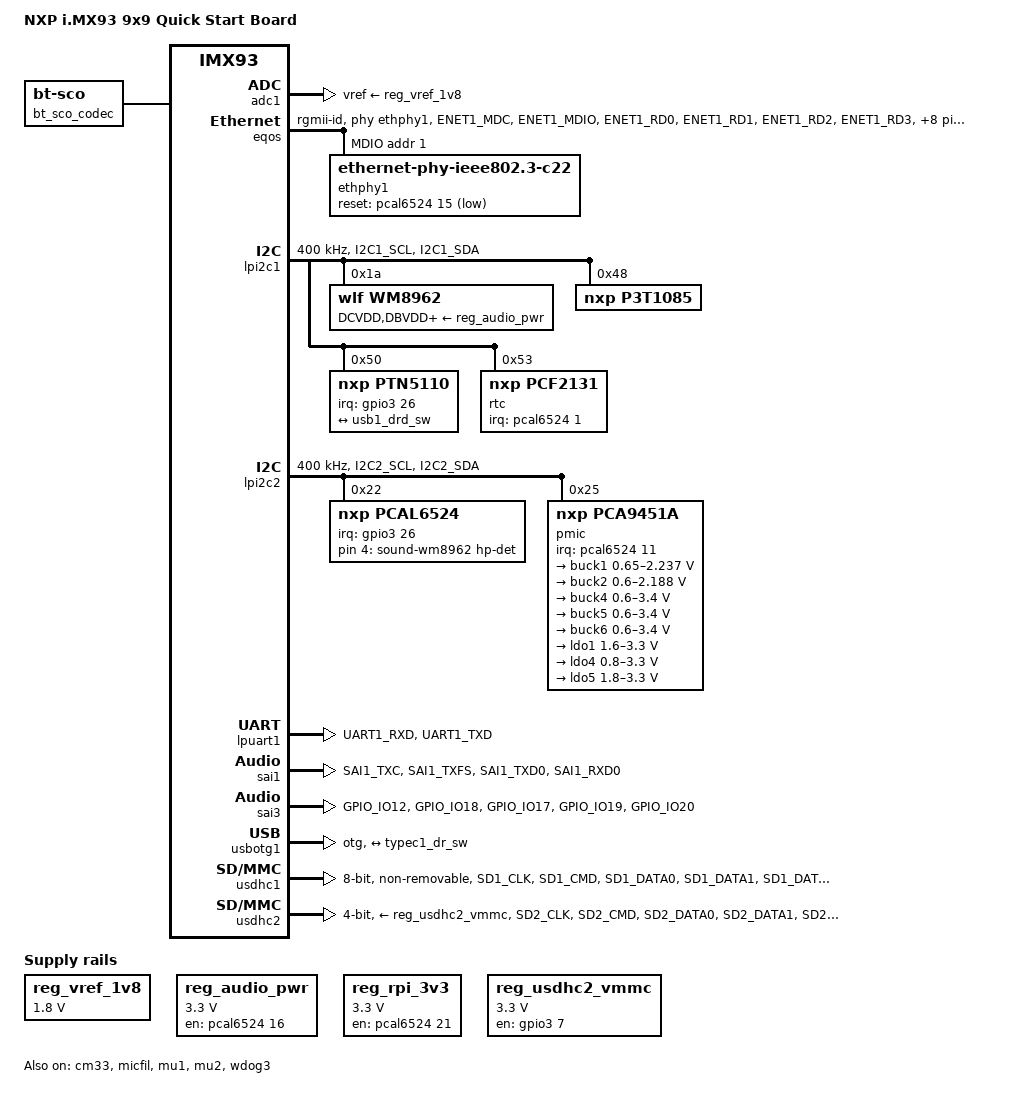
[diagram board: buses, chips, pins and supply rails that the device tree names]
// SPDX-License-Identifier: (GPL-2.0-only OR MIT)
/*
 * Copyright 2024 NXP
 */

/dts-v1/;

#include <dt-bindings/usb/pd.h>
#include "imx93.dtsi"

/ {
	model = "NXP i.MX93 9x9 Quick Start Board";
	compatible = "fsl,imx93-9x9-qsb", "fsl,imx93";

	bt_sco_codec: bt-sco-codec {
		#sound-dai-cells = <1>;
		compatible = "linux,bt-sco";
	};

	chosen {
		stdout-path = &lpuart1;
	};

	reserved-memory {
		#address-cells = <2>;
		#size-cells = <2>;
		ranges;

		linux,cma {
			compatible = "shared-dma-pool";
			reusable;
			size = <0 0x10000000>;
			linux,cma-default;
		};

		vdev0vring0: vdev0vring0@a4000000 {
			reg = <0 0xa4000000 0 0x8000>;
			no-map;
		};

		vdev0vring1: vdev0vring1@a4008000 {
			reg = <0 0xa4008000 0 0x8000>;
			no-map;
		};

		vdev1vring0: vdev1vring0@a4010000 {
			reg = <0 0xa4010000 0 0x8000>;
			no-map;
		};

		vdev1vring1: vdev1vring1@a4018000 {
			reg = <0 0xa4018000 0 0x8000>;
			no-map;
		};

		rsc_table: rsc-table@2021e000 {
			reg = <0 0x2021e000 0 0x1000>;
			no-map;
		};

		vdevbuffer: vdevbuffer@a4020000 {
			compatible = "shared-dma-pool";
			reg = <0 0xa4020000 0 0x100000>;
			no-map;
		};

	};

	reg_vref_1v8: regulator-adc-vref {
		compatible = "regulator-fixed";
		regulator-name = "VREF_1V8";
		regulator-min-microvolt = <1800000>;
		regulator-max-microvolt = <1800000>;
	};

	reg_audio_pwr: regulator-audio-pwr {
		compatible = "regulator-fixed";
		regulator-name = "audio-pwr";
		regulator-min-microvolt = <3300000>;
		regulator-max-microvolt = <3300000>;
		gpio = <&pcal6524 16 GPIO_ACTIVE_HIGH>;
		enable-active-high;
	};

	reg_rpi_3v3: regulator-rpi {
		compatible = "regulator-fixed";
		regulator-name = "VDD_RPI_3V3";
		regulator-min-microvolt = <3300000>;
		regulator-max-microvolt = <3300000>;
		gpio = <&pcal6524 21 GPIO_ACTIVE_HIGH>;
		enable-active-high;
	};

	reg_usdhc2_vmmc: regulator-usdhc2 {
		compatible = "regulator-fixed";
		pinctrl-names = "default";
		pinctrl-0 = <&pinctrl_reg_usdhc2_vmmc>;
		regulator-name = "VSD_3V3";
		regulator-min-microvolt = <3300000>;
		regulator-max-microvolt = <3300000>;
		gpio = <&gpio3 7 GPIO_ACTIVE_HIGH>;
		enable-active-high;
		off-on-delay-us = <12000>;
	};

	sound-bt-sco {
		compatible = "simple-audio-card";
		simple-audio-card,name = "bt-sco-audio";
		simple-audio-card,format = "dsp_a";
		simple-audio-card,bitclock-inversion;
		simple-audio-card,frame-master = <&btcpu>;
		simple-audio-card,bitclock-master = <&btcpu>;

		btcpu: simple-audio-card,cpu {
			sound-dai = <&sai1>;
			dai-tdm-slot-num = <2>;
			dai-tdm-slot-width = <16>;
		};

		simple-audio-card,codec {
			sound-dai = <&bt_sco_codec 1>;
		};
	};

	sound-micfil {
		compatible = "fsl,imx-audio-card";
		model = "micfil-audio";

		pri-dai-link {
			link-name = "micfil hifi";
			format = "i2s";

			cpu {
				sound-dai = <&micfil>;
			};
		};
	};

	sound-wm8962 {
		compatible = "fsl,imx-audio-wm8962";
		model = "wm8962-audio";
		audio-cpu = <&sai3>;
		audio-codec = <&wm8962>;
		hp-det-gpio = <&pcal6524 4 GPIO_ACTIVE_HIGH>;
		audio-routing =
			"Headphone Jack", "HPOUTL",
			"Headphone Jack", "HPOUTR",
			"Ext Spk", "SPKOUTL",
			"Ext Spk", "SPKOUTR",
			"AMIC", "MICBIAS",
			"IN3R", "AMIC",
			"IN1R", "AMIC";
	};
};

&adc1 {
	vref-supply = <&reg_vref_1v8>;
	status = "okay";
};

&cm33 {
	mbox-names = "tx", "rx", "rxdb";
	mboxes = <&mu1 0 1>,
		 <&mu1 1 1>,
		 <&mu1 3 1>;
	memory-region = <&vdevbuffer>, <&vdev0vring0>, <&vdev0vring1>,
			<&vdev1vring0>, <&vdev1vring1>, <&rsc_table>;
	status = "okay";
};

&eqos {
	pinctrl-names = "default";
	pinctrl-0 = <&pinctrl_eqos>;
	phy-mode = "rgmii-id";
	phy-handle = <&ethphy1>;
	status = "okay";

	mdio {
		compatible = "snps,dwmac-mdio";
		#address-cells = <1>;
		#size-cells = <0>;
		clock-frequency = <5000000>;

		ethphy1: ethernet-phy@1 {
			compatible = "ethernet-phy-ieee802.3-c22";
			reg = <1>;
			eee-broken-1000t;
			reset-gpios = <&pcal6524 15 GPIO_ACTIVE_LOW>;
			reset-assert-us = <10000>;
			reset-deassert-us = <80000>;
			realtek,clkout-disable;
		};
	};
};

&lpi2c1 {
	clock-frequency = <400000>;
	pinctrl-names = "default";
	pinctrl-0 = <&pinctrl_lpi2c1>;
	status = "okay";

	wm8962: audio-codec@1a {
		compatible = "wlf,wm8962";
		reg = <0x1a>;
		clocks = <&clk IMX93_CLK_SAI3_GATE>;
		DCVDD-supply = <&reg_audio_pwr>;
		DBVDD-supply = <&reg_audio_pwr>;
		AVDD-supply = <&reg_audio_pwr>;
		CPVDD-supply = <&reg_audio_pwr>;
		MICVDD-supply = <&reg_audio_pwr>;
		PLLVDD-supply = <&reg_audio_pwr>;
		SPKVDD1-supply = <&reg_audio_pwr>;
		SPKVDD2-supply = <&reg_audio_pwr>;
		gpio-cfg = <
			0x0000 /* 0:Default */
			0x0000 /* 1:Default */
			0x0000 /* 2:FN_DMICCLK */
			0x0000 /* 3:Default */
			0x0000 /* 4:FN_DMICCDAT */
			0x0000 /* 5:Default */
		>;
	};

	p3t1085: temperature-sensor@48 {
		compatible = "nxp,p3t1085";
		reg = <0x48>;
	};

	ptn5110: tcpc@50 {
		compatible = "nxp,ptn5110", "tcpci";
		reg = <0x50>;
		interrupt-parent = <&gpio3>;
		interrupts = <26 IRQ_TYPE_LEVEL_LOW>;

		typec1_con: connector {
			compatible = "usb-c-connector";
			label = "USB-C";
			power-role = "dual";
			data-role = "dual";
			try-power-role = "sink";
			source-pdos = <PDO_FIXED(5000, 3000, PDO_FIXED_USB_COMM)>;
			sink-pdos = <PDO_FIXED(5000, 3000, PDO_FIXED_USB_COMM)
				     PDO_VAR(5000, 20000, 3000)>;
			op-sink-microwatt = <15000000>;
			self-powered;

			ports {
				#address-cells = <1>;
				#size-cells = <0>;

				port@0 {
					reg = <0>;

					typec1_dr_sw: endpoint {
						remote-endpoint = <&usb1_drd_sw>;
					};
				};
			};
		};
	};

	rtc@53 {
		compatible = "nxp,pcf2131";
		reg = <0x53>;
		interrupt-parent = <&pcal6524>;
		interrupts = <1 IRQ_TYPE_EDGE_FALLING>;
	};
};

&lpi2c2 {
	clock-frequency = <400000>;
	pinctrl-names = "default";
	pinctrl-0 = <&pinctrl_lpi2c2>;
	status = "okay";

	pcal6524: gpio@22 {
		compatible = "nxp,pcal6524";
		reg = <0x22>;
		gpio-controller;
		#gpio-cells = <2>;
		interrupt-controller;
		#interrupt-cells = <2>;
		interrupt-parent = <&gpio3>;
		interrupts = <26 IRQ_TYPE_LEVEL_LOW>;
		pinctrl-names = "default";
		pinctrl-0 = <&pinctrl_pcal6524>;

		exp-sel-hog {
			gpio-hog;
			gpios = <22 GPIO_ACTIVE_HIGH>;
			output-low;
		};

		mic-can-sel-hog {
			gpio-hog;
			gpios = <17 GPIO_ACTIVE_HIGH>;
			output-low;
		};
	};

	pmic@25 {
		compatible = "nxp,pca9451a";
		reg = <0x25>;
		interrupt-parent = <&pcal6524>;
		interrupts = <11 IRQ_TYPE_EDGE_FALLING>;

		regulators {
			buck1: BUCK1 {
				regulator-name = "BUCK1";
				regulator-min-microvolt = <650000>;
				regulator-max-microvolt = <2237500>;
				regulator-boot-on;
				regulator-always-on;
				regulator-ramp-delay = <3125>;
			};

			buck2: BUCK2 {
				regulator-name = "BUCK2";
				regulator-min-microvolt = <600000>;
				regulator-max-microvolt = <2187500>;
				regulator-boot-on;
				regulator-always-on;
				regulator-ramp-delay = <3125>;
			};

			buck4: BUCK4 {
				regulator-name = "BUCK4";
				regulator-min-microvolt = <600000>;
				regulator-max-microvolt = <3400000>;
				regulator-boot-on;
				regulator-always-on;
			};

			buck5: BUCK5 {
				regulator-name = "BUCK5";
				regulator-min-microvolt = <600000>;
				regulator-max-microvolt = <3400000>;
				regulator-boot-on;
				regulator-always-on;
			};

			buck6: BUCK6 {
				regulator-name = "BUCK6";
				regulator-min-microvolt = <600000>;
				regulator-max-microvolt = <3400000>;
				regulator-boot-on;
				regulator-always-on;
			};

			ldo1: LDO1 {
				regulator-name = "LDO1";
				regulator-min-microvolt = <1600000>;
				regulator-max-microvolt = <3300000>;
				regulator-boot-on;
				regulator-always-on;
			};

			ldo4: LDO4 {
				regulator-name = "LDO4";
				regulator-min-microvolt = <800000>;
				regulator-max-microvolt = <3300000>;
				regulator-boot-on;
				regulator-always-on;
			};

			ldo5: LDO5 {
				regulator-name = "LDO5";
				regulator-min-microvolt = <1800000>;
				regulator-max-microvolt = <3300000>;
				regulator-boot-on;
				regulator-always-on;
			};
		};
	};
};

&lpuart1 { /* console */
	pinctrl-names = "default";
	pinctrl-0 = <&pinctrl_uart1>;
	status = "okay";
};

&micfil {
	pinctrl-names = "default";
	pinctrl-0 = <&pinctrl_pdm>;
	assigned-clocks = <&clk IMX93_CLK_PDM>;
	assigned-clock-parents = <&clk IMX93_CLK_AUDIO_PLL>;
	assigned-clock-rates = <49152000>;
	status = "okay";
};

&mu1 {
	status = "okay";
};

&mu2 {
	status = "okay";
};

&sai1 {
	pinctrl-names = "default";
	pinctrl-0 = <&pinctrl_sai1>;
	assigned-clocks = <&clk IMX93_CLK_SAI1>;
	assigned-clock-parents = <&clk IMX93_CLK_AUDIO_PLL>;
	assigned-clock-rates = <12288000>;
	fsl,sai-mclk-direction-output;
	status = "okay";
};

&sai3 {
	pinctrl-names = "default";
	pinctrl-0 = <&pinctrl_sai3>;
	assigned-clocks = <&clk IMX93_CLK_SAI3>;
	assigned-clock-parents = <&clk IMX93_CLK_AUDIO_PLL>;
	assigned-clock-rates = <12288000>;
	fsl,sai-mclk-direction-output;
	fsl,sai-synchronous-rx;
	status = "okay";
};

&usbotg1 {
	dr_mode = "otg";
	hnp-disable;
	srp-disable;
	adp-disable;
	usb-role-switch;
	disable-over-current;
	samsung,picophy-pre-emp-curr-control = <3>;
	samsung,picophy-dc-vol-level-adjust = <7>;
	status = "okay";

	port {
		usb1_drd_sw: endpoint {
			remote-endpoint = <&typec1_dr_sw>;
		};
	};
};

&usdhc1 {
	pinctrl-names = "default", "state_100mhz", "state_200mhz";
	pinctrl-0 = <&pinctrl_usdhc1>;
	pinctrl-1 = <&pinctrl_usdhc1_100mhz>;
	pinctrl-2 = <&pinctrl_usdhc1_200mhz>;
	bus-width = <8>;
	non-removable;
	status = "okay";
};

&usdhc2 {
	pinctrl-names = "default", "state_100mhz", "state_200mhz";
	pinctrl-0 = <&pinctrl_usdhc2>, <&pinctrl_usdhc2_gpio>;
	pinctrl-1 = <&pinctrl_usdhc2_100mhz>, <&pinctrl_usdhc2_gpio>;
	pinctrl-2 = <&pinctrl_usdhc2_200mhz>, <&pinctrl_usdhc2_gpio>;
	cd-gpios = <&gpio3 0 GPIO_ACTIVE_LOW>;
	vmmc-supply = <&reg_usdhc2_vmmc>;
	bus-width = <4>;
	no-mmc;
	status = "okay";
};

&wdog3 {
	pinctrl-names = "default";
	pinctrl-0 = <&pinctrl_wdog>;
	fsl,ext-reset-output;
	status = "okay";
};

&iomuxc {
	pinctrl_eqos: eqosgrp {
		fsl,pins = <
			MX93_PAD_ENET1_MDC__ENET_QOS_MDC			0x57e
			MX93_PAD_ENET1_MDIO__ENET_QOS_MDIO			0x57e
			MX93_PAD_ENET1_RD0__ENET_QOS_RGMII_RD0			0x57e
			MX93_PAD_ENET1_RD1__ENET_QOS_RGMII_RD1			0x57e
			MX93_PAD_ENET1_RD2__ENET_QOS_RGMII_RD2			0x57e
			MX93_PAD_ENET1_RD3__ENET_QOS_RGMII_RD3			0x57e
			MX93_PAD_ENET1_RXC__CCM_ENET_QOS_CLOCK_GENERATE_RX_CLK	0x58e
			MX93_PAD_ENET1_RX_CTL__ENET_QOS_RGMII_RX_CTL		0x57e
			MX93_PAD_ENET1_TD0__ENET_QOS_RGMII_TD0			0x57e
			MX93_PAD_ENET1_TD1__ENET_QOS_RGMII_TD1			0x57e
			MX93_PAD_ENET1_TD2__ENET_QOS_RGMII_TD2			0x57e
			MX93_PAD_ENET1_TD3__ENET_QOS_RGMII_TD3			0x57e
			MX93_PAD_ENET1_TXC__CCM_ENET_QOS_CLOCK_GENERATE_TX_CLK	0x58e
			MX93_PAD_ENET1_TX_CTL__ENET_QOS_RGMII_TX_CTL		0x57e
		>;
	};

	pinctrl_lpi2c1: lpi2c1grp {
		fsl,pins = <
			MX93_PAD_I2C1_SCL__LPI2C1_SCL		0x40000b9e
			MX93_PAD_I2C1_SDA__LPI2C1_SDA		0x40000b9e
		>;
	};

	pinctrl_lpi2c2: lpi2c2grp {
		fsl,pins = <
			MX93_PAD_I2C2_SCL__LPI2C2_SCL		0x40000b9e
			MX93_PAD_I2C2_SDA__LPI2C2_SDA		0x40000b9e
		>;
	};

	pinctrl_pcal6524: pcal6524grp {
		fsl,pins = <
			MX93_PAD_CCM_CLKO1__GPIO3_IO26		0x31e
		>;
	};

	pinctrl_pdm: pdmgrp {
		fsl,pins = <
			MX93_PAD_PDM_CLK__PDM_CLK			0x31e
			MX93_PAD_PDM_BIT_STREAM0__PDM_BIT_STREAM00	0x31e
			MX93_PAD_PDM_BIT_STREAM1__PDM_BIT_STREAM01	0x31e
		>;
	};

	pinctrl_uart1: uart1grp {
		fsl,pins = <
			MX93_PAD_UART1_RXD__LPUART1_RX		0x31e
			MX93_PAD_UART1_TXD__LPUART1_TX		0x31e
		>;
	};

	pinctrl_uart5: uart5grp {
		fsl,pins = <
			MX93_PAD_DAP_TDO_TRACESWO__LPUART5_TX	0x31e
			MX93_PAD_DAP_TDI__LPUART5_RX		0x31e
			MX93_PAD_DAP_TMS_SWDIO__LPUART5_RTS_B	0x31e
			MX93_PAD_DAP_TCLK_SWCLK__LPUART5_CTS_B	0x31e
		>;
	};

	/* need to config the SION for data and cmd pad, refer to ERR052021 */
	pinctrl_usdhc1: usdhc1grp {
		fsl,pins = <
			MX93_PAD_SD1_CLK__USDHC1_CLK		0x1582
			MX93_PAD_SD1_CMD__USDHC1_CMD		0x40001382
			MX93_PAD_SD1_DATA0__USDHC1_DATA0	0x40001382
			MX93_PAD_SD1_DATA1__USDHC1_DATA1	0x40001382
			MX93_PAD_SD1_DATA2__USDHC1_DATA2	0x40001382
			MX93_PAD_SD1_DATA3__USDHC1_DATA3	0x40001382
			MX93_PAD_SD1_DATA4__USDHC1_DATA4	0x40001382
			MX93_PAD_SD1_DATA5__USDHC1_DATA5	0x40001382
			MX93_PAD_SD1_DATA6__USDHC1_DATA6	0x40001382
			MX93_PAD_SD1_DATA7__USDHC1_DATA7	0x40001382
			MX93_PAD_SD1_STROBE__USDHC1_STROBE	0x1582
		>;
	};

	/* need to config the SION for data and cmd pad, refer to ERR052021 */
	pinctrl_usdhc1_100mhz: usdhc1-100mhzgrp {
		fsl,pins = <
			MX93_PAD_SD1_CLK__USDHC1_CLK		0x158e
			MX93_PAD_SD1_CMD__USDHC1_CMD		0x4000138e
			MX93_PAD_SD1_DATA0__USDHC1_DATA0	0x4000138e
			MX93_PAD_SD1_DATA1__USDHC1_DATA1	0x4000138e
			MX93_PAD_SD1_DATA2__USDHC1_DATA2	0x4000138e
			MX93_PAD_SD1_DATA3__USDHC1_DATA3	0x4000138e
			MX93_PAD_SD1_DATA4__USDHC1_DATA4	0x4000138e
			MX93_PAD_SD1_DATA5__USDHC1_DATA5	0x4000138e
			MX93_PAD_SD1_DATA6__USDHC1_DATA6	0x4000138e
			MX93_PAD_SD1_DATA7__USDHC1_DATA7	0x4000138e
			MX93_PAD_SD1_STROBE__USDHC1_STROBE	0x158e
		>;
	};

	/* need to config the SION for data and cmd pad, refer to ERR052021 */
	pinctrl_usdhc1_200mhz: usdhc1-200mhzgrp {
		fsl,pins = <
			MX93_PAD_SD1_CLK__USDHC1_CLK		0x15fe
			MX93_PAD_SD1_CMD__USDHC1_CMD		0x400013fe
			MX93_PAD_SD1_DATA0__USDHC1_DATA0	0x400013fe
			MX93_PAD_SD1_DATA1__USDHC1_DATA1	0x400013fe
			MX93_PAD_SD1_DATA2__USDHC1_DATA2	0x400013fe
			MX93_PAD_SD1_DATA3__USDHC1_DATA3	0x400013fe
			MX93_PAD_SD1_DATA4__USDHC1_DATA4	0x400013fe
			MX93_PAD_SD1_DATA5__USDHC1_DATA5	0x400013fe
			MX93_PAD_SD1_DATA6__USDHC1_DATA6	0x400013fe
			MX93_PAD_SD1_DATA7__USDHC1_DATA7	0x400013fe
			MX93_PAD_SD1_STROBE__USDHC1_STROBE	0x15fe
		>;
	};

	pinctrl_reg_usdhc2_vmmc: regusdhc2vmmcgrp {
		fsl,pins = <
			MX93_PAD_SD2_RESET_B__GPIO3_IO07	0x31e
		>;
	};

	pinctrl_sai1: sai1grp {
		fsl,pins = <
			MX93_PAD_SAI1_TXC__SAI1_TX_BCLK			0x31e
			MX93_PAD_SAI1_TXFS__SAI1_TX_SYNC		0x31e
			MX93_PAD_SAI1_TXD0__SAI1_TX_DATA00		0x31e
			MX93_PAD_SAI1_RXD0__SAI1_RX_DATA00		0x31e
		>;
	};

	pinctrl_sai3: sai3grp {
		fsl,pins = <
			MX93_PAD_GPIO_IO12__SAI3_RX_SYNC		0x31e
			MX93_PAD_GPIO_IO18__SAI3_RX_BCLK		0x31e
			MX93_PAD_GPIO_IO17__SAI3_MCLK			0x31e
			MX93_PAD_GPIO_IO19__SAI3_TX_DATA00		0x31e
			MX93_PAD_GPIO_IO20__SAI3_RX_DATA00		0x31e
		>;
	};

	pinctrl_usdhc2_gpio: usdhc2gpiogrp {
		fsl,pins = <
			MX93_PAD_SD2_CD_B__GPIO3_IO00		0x31e
		>;
	};

	/* need to config the SION for data and cmd pad, refer to ERR052021 */
	pinctrl_usdhc2: usdhc2grp {
		fsl,pins = <
			MX93_PAD_SD2_CLK__USDHC2_CLK		0x1582
			MX93_PAD_SD2_CMD__USDHC2_CMD		0x40001382
			MX93_PAD_SD2_DATA0__USDHC2_DATA0	0x40001382
			MX93_PAD_SD2_DATA1__USDHC2_DATA1	0x40001382
			MX93_PAD_SD2_DATA2__USDHC2_DATA2	0x40001382
			MX93_PAD_SD2_DATA3__USDHC2_DATA3	0x40001382
			MX93_PAD_SD2_VSELECT__USDHC2_VSELECT	0x51e
		>;
	};

	/* need to config the SION for data and cmd pad, refer to ERR052021 */
	pinctrl_usdhc2_100mhz: usdhc2-100mhzgrp {
		fsl,pins = <
			MX93_PAD_SD2_CLK__USDHC2_CLK		0x158e
			MX93_PAD_SD2_CMD__USDHC2_CMD		0x4000138e
			MX93_PAD_SD2_DATA0__USDHC2_DATA0	0x4000138e
			MX93_PAD_SD2_DATA1__USDHC2_DATA1	0x4000138e
			MX93_PAD_SD2_DATA2__USDHC2_DATA2	0x4000138e
			MX93_PAD_SD2_DATA3__USDHC2_DATA3	0x4000138e
			MX93_PAD_SD2_VSELECT__USDHC2_VSELECT	0x51e
		>;
	};

	/* need to config the SION for data and cmd pad, refer to ERR052021 */
	pinctrl_usdhc2_200mhz: usdhc2-200mhzgrp {
		fsl,pins = <
			MX93_PAD_SD2_CLK__USDHC2_CLK		0x15fe
			MX93_PAD_SD2_CMD__USDHC2_CMD		0x400013fe
			MX93_PAD_SD2_DATA0__USDHC2_DATA0	0x400013fe
			MX93_PAD_SD2_DATA1__USDHC2_DATA1	0x400013fe
			MX93_PAD_SD2_DATA2__USDHC2_DATA2	0x400013fe
			MX93_PAD_SD2_DATA3__USDHC2_DATA3	0x400013fe
			MX93_PAD_SD2_VSELECT__USDHC2_VSELECT	0x51e
		>;
	};

	pinctrl_wdog: wdoggrp {
		fsl,pins = <
			MX93_PAD_WDOG_ANY__WDOG1_WDOG_ANY	0x31e
		>;
	};
};
